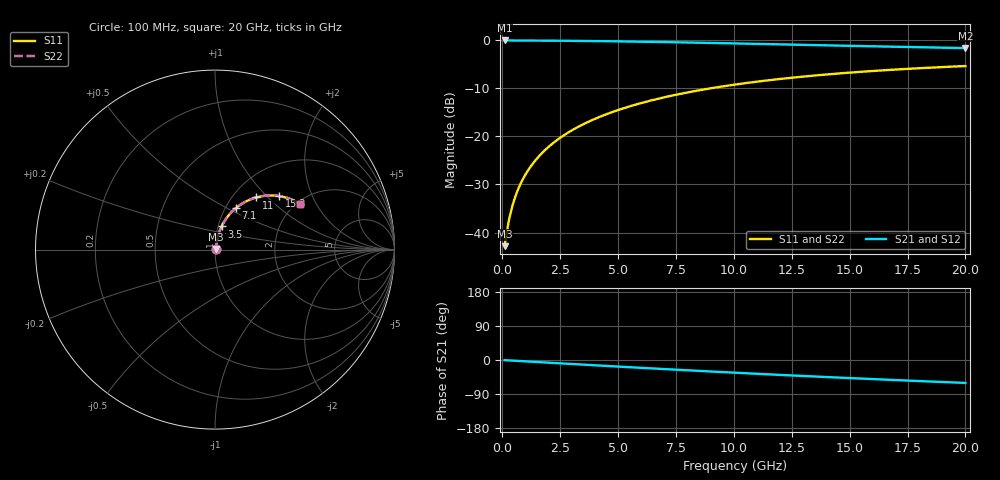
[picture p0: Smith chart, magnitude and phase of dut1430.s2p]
! Touchstone file exported from HFSS 2026.1.0
!  File:  C:/ffzhzh/LocalFiles/Ansys_Project_Files/temp_train_BSMRDL_1430_1783180380_18472.aedt
!  Generated:  11:54:24 PM Jul  4, 2026
!  Design:  BSMRDL
!  Project:  temp_train_BSMRDL_1430_1783180380_18472
! Variables:
!  h_bsmrdl = 2.89um
!  h_ox = 20um
!  h_rdl = 5um
!  h_sub = 80um
!  h_tmrdl = 5um
!  h_tsv = 80um
!  h_via = 3um
!  l_bsmrdl = 923.57um
!  l_sub = 1323.57um
!  l_tmrdl = 200um
!  m_sub = 200um
!  pitch = 50.28um
!  r_tsv = 6um
!  s_tmrdl = 10um
!  w_bsmrdl = 19.76um
!  w_sub = 500um
!  w_tmrdl = 12um
!  x_tsv_center1 = 206um
!  x_tsv_center2 = 1149.33um
!  x_tsv_center3 = 1361.33um
!  x_tsv_center4 = 2304.66um
!  x_tsv_center5 = 2516.66um
!  x_tsv_center6 = 3459.99um
# GHz S MA R 50.000000
! Terminal data exported
! Port[1] = BSM_RDL1_1_T1
! Port[2] = BSM_RDL1_1_T2
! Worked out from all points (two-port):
!   200 points, 100 MHz to 20 GHz, reference 50 ohm
!   highest |S21| = -0.05 dB at 100 MHz (marker M1); lowest = -1.6 dB at 20 GHz (marker M2)
!   |S21| within 3 dB of the highest: start of sweep to end of sweep
!   lowest |S11| = -42.8 dB at 100 MHz (marker M3), VSWR 1.01, Z = 50.6 + j0.422 ohm
!   |S11| at or under -10 dB: start of sweep to 9.002 GHz
!   |S22| runs from -42.8 to -5.4 dB; largest |S21 - S12| = 4e-15
!   S11 on the Smith chart (normalised r, x): 100 MHz: 1.01, +0.01; 3.5 GHz: 1.04, +0.27; 7.1 GHz: 1.12, +0.55; 11 GHz: 1.27, +0.86; 15.3 GHz: 1.56, +1.19; 20 GHz: 2.09, +1.49
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0.1  0.007216 35.3  0.9941 -0.4  0.9941 -0.4  0.007216 35.3
! Gamma 0 0 0 0
! Port Impedance 50 0 50 0
0.2  0.0103 53.5  0.9939 -0.7  0.9939 -0.7  0.0103 53.5
0.3  0.01389 62.2  0.9937 -1.1  0.9937 -1.1  0.01389 62.2
0.4  0.0176 67.0  0.9934 -1.5  0.9934 -1.5  0.0176 67.0
0.5  0.02133 70.0  0.9931 -1.8  0.9931 -1.8  0.02133 70.0
0.6  0.02507 72.0  0.9929 -2.2  0.9929 -2.2  0.02507 72.0
0.8  0.03256 74.6  0.9924 -2.9  0.9924 -2.9  0.03256 74.6
1.1  0.04385 76.5  0.9917 -3.9  0.9917 -3.9  0.04385 76.5
1.6  0.06275 77.4  0.9905 -5.7  0.9905 -5.7  0.06275 77.4
2.1  0.08164 77.1  0.9889 -7.4  0.9889 -7.4  0.08164 77.1
2.7  0.1042 76.1  0.9865 -9.5  0.9865 -9.5  0.1042 76.1
3.5  0.1339 74.1  0.9826 -12.3  0.9826 -12.3  0.1339 74.1
5  0.1878 69.8  0.973 -17.4  0.973 -17.4  0.1878 69.8
6.8  0.2486 64.3  0.9583 -23.3  0.9583 -23.3  0.2486 64.3
7.1  0.2583 63.3  0.9556 -24.3  0.9556 -24.3  0.2583 63.4
8.5  0.3015 59.1  0.9422 -28.8  0.9422 -28.8  0.3015 59.1
10.1  0.347 54.3  0.9257 -33.7  0.9257 -33.7  0.347 54.3
11  0.3707 51.6  0.9162 -36.4  0.9162 -36.4  0.3707 51.7
13.4  0.4275 44.9  0.8907 -43.3  0.8907 -43.3  0.4275 44.9
15.3  0.4659 39.8  0.871 -48.5  0.871 -48.5  0.4659 39.8
16.7  0.4908 36.2  0.8573 -52.2  0.8573 -52.2  0.4908 36.2
20  0.5387 28.1  0.8284 -60.5  0.8284 -60.5  0.5388 28.1
